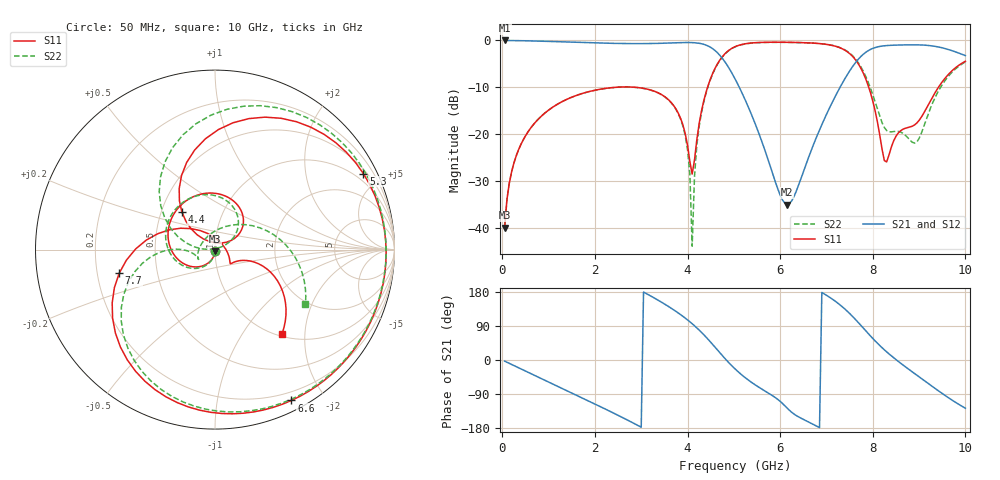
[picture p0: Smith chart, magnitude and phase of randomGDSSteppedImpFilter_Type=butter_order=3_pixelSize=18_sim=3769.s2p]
! freq	dB(S11)	phase(S11)	dB(S12)	phase(S12)
!  dB(S21)	phase(S21)	dB(S22)	phase(S22)
!S-par simulation data
#  GHz  S  DB  R 50
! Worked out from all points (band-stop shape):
!   200 points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, 50 MHz to 10 GHz, reference 50 ohm
!   highest |S21| = -0.01 dB at 50 MHz (marker M1); lowest = -35.0 dB at 6.15 GHz (marker M2)
!   |S21| within 3 dB of the highest: start of sweep to 4.682 GHz; 7.789 GHz to 9.939 GHz (2.15 GHz wide, 24.3 % of centre)
!   lowest |S11| = -40.0 dB at 50 MHz (marker M3), VSWR 1.02, Z = 50 - j1 ohm
!   |S11| at or under -10 dB: start of sweep to 2.461 GHz; 2.862 GHz to 4.433 GHz (1.571 GHz wide, 43.1 % of centre); 7.913 GHz to 9.419 GHz (1.506 GHz wide, 17.4 % of centre)
!   |S22| runs from -43.9 to -0.4 dB; largest |S21 - S12| = 0
!   S11 on the Smith chart (normalised r, x): 50 MHz: 1.00, -0.02; 4.4 GHz: 0.64, +0.29; 5.3 GHz: 0.66, +4.05; 6.6 GHz: 0.11, -1.62; 7.7 GHz: 0.29, -0.11; 10 GHz: 1.05, -1.53
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0.05  -39.99 -88.8  -0.01 -3.0  -0.01 -3.0  -39.98 -88.6
0.2  -28.09 -101.8  -0.03 -11.7  -0.03 -11.7  -28.09 -100.7
0.5  -20.38 -121.0  -0.08 -29.2  -0.08 -29.2  -20.38 -118.3
1.75  -11.26 163.1  -0.46 -101.6  -0.46 -101.6  -11.26 172.3
2.65  -9.93 108.0  -0.67 -155.2  -0.67 -155.2  -9.94 120.5
3.4  -11.36 59.8  -0.63 155.3  -0.63 155.3  -11.39 71.8
3.95  -19.89 29.6  -0.45 110.6  -0.45 110.6  -20.31 28.6
4.05  -25.82 45.3  -0.45 100.9  -0.45 100.9  -28.52 22.9
4.1  -28.53 82.4  -0.47 95.8  -0.47 95.8  -43.91 72.5
4.2  -21.24 137.3  -0.54 84.9  -0.54 84.9  -22.41 176.7
4.4  -11.06 131.3  -1.00 60.5  -1.00 60.5  -11.23 154.3
5.05  -1.25 51.9  -8.67 -26.3  -8.67 -26.3  -1.29 66.5
5.3  -0.64 27.1  -13.93 -51.8  -13.93 -51.8  -0.67 40.1
6.15  -0.40 -34.5  -35.02 -126.8  -35.02 -126.8  -0.42 -25.9
6.6  -0.52 -63.1  -25.35 -162.5  -25.35 -162.5  -0.53 -56.1
6.7  -0.57 -69.8  -22.73 -168.6  -22.73 -168.6  -0.57 -63.0
7.2  -1.26 -108.4  -11.76 154.2  -11.76 154.2  -1.24 -101.8
7.7  -5.20 -166.1  -3.88 97.3  -3.88 97.3  -4.94 -153.9
8.35  -24.45 2.3  -1.07 16.2  -1.07 16.2  -19.50 -154.6
8.95  -17.65 -31.1  -0.94 -40.0  -0.94 -40.0  -21.70 124.7
9.25  -12.81 -17.6  -1.13 -66.7  -1.13 -66.7  -14.35 46.9
10  -4.45 -51.4  -3.24 -127.2  -3.24 -127.2  -4.59 -31.2
